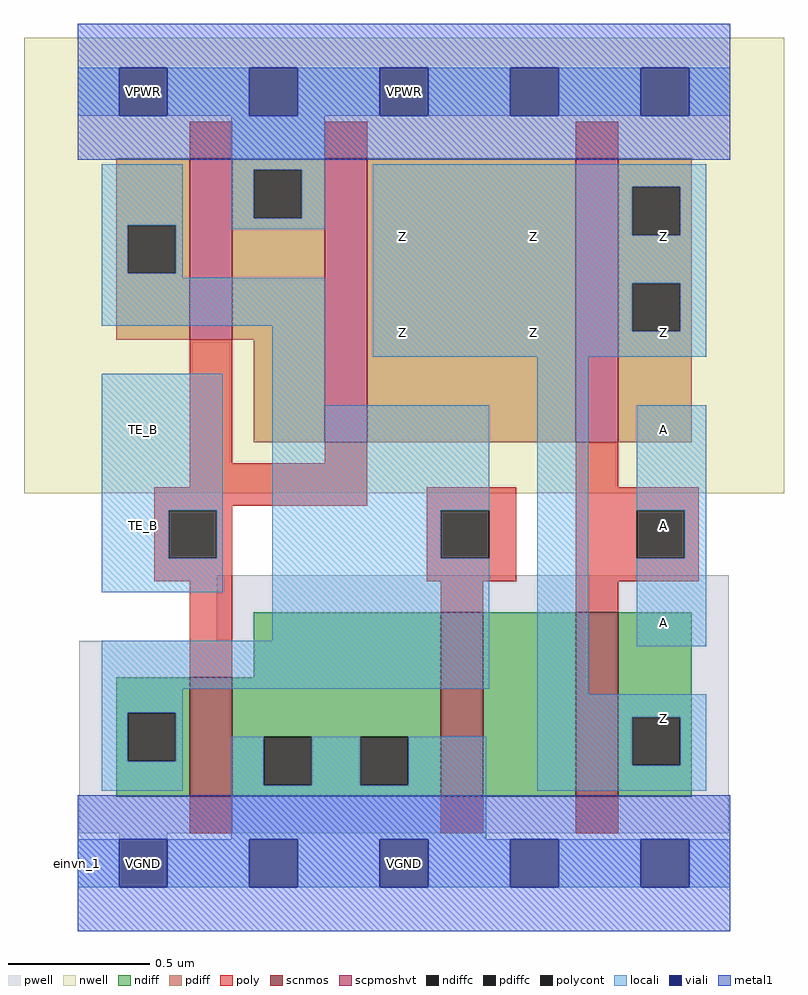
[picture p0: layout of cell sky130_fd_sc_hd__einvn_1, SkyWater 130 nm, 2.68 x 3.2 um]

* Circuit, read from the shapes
.subckt sky130_fd_sc_hd__einvn_1 A TE_B VGND VNB VPB VPWR Z
XM1 VGND TE_B n1 VNB sky130_fd_pr__nfet_01v8 w=0.42 l=0.15
XM2 n2 n1 VGND VNB sky130_fd_pr__nfet_01v8 w=0.65 l=0.15
XM3 Z A n2 VNB sky130_fd_pr__nfet_01v8 w=0.65 l=0.15
XM4 VPWR TE_B n1 VPB sky130_fd_pr__pfet_01v8_hvt w=0.64 l=0.15
XM5 n3 TE_B VPWR VPB sky130_fd_pr__pfet_01v8_hvt w=1 l=0.15
XM6 Z A n3 VPB sky130_fd_pr__pfet_01v8_hvt w=1 l=0.15
.ends

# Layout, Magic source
magic
tech sky130B
magscale 1 2
<< nwell >>
rect -38 261 498 582
<< pwell >>
rect 98 157 459 203
rect 1 21 459 157
rect 29 -17 63 21
<< scnmos >>
rect 79 47 109 131
rect 256 47 286 177
rect 351 47 381 177
<< scpmoshvt >>
rect 79 369 109 497
rect 174 297 204 497
rect 351 297 381 497
<< ndiff >>
rect 124 131 256 177
rect 27 106 79 131
rect 27 72 35 106
rect 69 72 79 106
rect 27 47 79 72
rect 109 89 256 131
rect 109 55 131 89
rect 165 55 199 89
rect 233 55 256 89
rect 109 47 256 55
rect 286 47 351 177
rect 381 103 433 177
rect 381 69 391 103
rect 425 69 433 103
rect 381 47 433 69
<< pdiff >>
rect 27 450 79 497
rect 27 416 35 450
rect 69 416 79 450
rect 27 369 79 416
rect 109 489 174 497
rect 109 455 124 489
rect 158 455 174 489
rect 109 369 174 455
rect 124 297 174 369
rect 204 297 351 497
rect 381 477 433 497
rect 381 443 391 477
rect 425 443 433 477
rect 381 409 433 443
rect 381 375 391 409
rect 425 375 433 409
rect 381 297 433 375
<< ndiffc >>
rect 35 72 69 106
rect 131 55 165 89
rect 199 55 233 89
rect 391 69 425 103
<< pdiffc >>
rect 35 416 69 450
rect 124 455 158 489
rect 391 443 425 477
rect 391 375 425 409
<< poly >>
rect 79 497 109 523
rect 174 497 204 523
rect 351 497 381 523
rect 79 282 109 369
rect 174 282 204 297
rect 79 265 204 282
rect 351 265 381 297
rect 54 252 204 265
rect 54 249 109 252
rect 54 215 64 249
rect 98 215 109 249
rect 54 199 109 215
rect 246 249 309 265
rect 246 215 256 249
rect 290 215 309 249
rect 246 199 309 215
rect 351 249 438 265
rect 351 215 394 249
rect 428 215 438 249
rect 351 199 438 215
rect 79 131 109 199
rect 256 177 286 199
rect 351 177 381 199
rect 79 21 109 47
rect 256 21 286 47
rect 351 21 381 47
<< polycont >>
rect 64 215 98 249
rect 256 215 290 249
rect 394 215 428 249
<< locali >>
rect 0 527 29 561
rect 63 527 121 561
rect 155 527 213 561
rect 247 527 305 561
rect 339 527 397 561
rect 431 527 460 561
rect 17 450 74 493
rect 17 416 35 450
rect 69 416 74 450
rect 108 489 174 527
rect 108 455 124 489
rect 158 455 174 489
rect 108 447 174 455
rect 208 477 443 493
rect 17 413 74 416
rect 208 443 391 477
rect 425 443 443 477
rect 17 379 174 413
rect 17 249 102 345
rect 17 215 64 249
rect 98 215 102 249
rect 17 191 102 215
rect 137 323 174 379
rect 208 409 443 443
rect 208 375 391 409
rect 425 375 443 409
rect 208 357 443 375
rect 137 249 290 323
rect 137 215 256 249
rect 137 157 290 215
rect 17 123 290 157
rect 17 106 74 123
rect 17 72 35 106
rect 69 72 74 106
rect 324 119 360 357
rect 394 249 443 323
rect 428 215 443 249
rect 394 153 443 215
rect 324 103 443 119
rect 17 51 74 72
rect 108 55 131 89
rect 165 55 199 89
rect 233 55 288 89
rect 108 17 288 55
rect 324 69 391 103
rect 425 69 443 103
rect 324 51 443 69
rect 0 -17 29 17
rect 63 -17 121 17
rect 155 -17 213 17
rect 247 -17 305 17
rect 339 -17 397 17
rect 431 -17 460 17
<< viali >>
rect 29 527 63 561
rect 121 527 155 561
rect 213 527 247 561
rect 305 527 339 561
rect 397 527 431 561
rect 29 -17 63 17
rect 121 -17 155 17
rect 213 -17 247 17
rect 305 -17 339 17
rect 397 -17 431 17
<< metal1 >>
rect 0 561 460 592
rect 0 527 29 561
rect 63 527 121 561
rect 155 527 213 561
rect 247 527 305 561
rect 339 527 397 561
rect 431 527 460 561
rect 0 496 460 527
rect 0 17 460 48
rect 0 -17 29 17
rect 63 -17 121 17
rect 155 -17 213 17
rect 247 -17 305 17
rect 339 -17 397 17
rect 431 -17 460 17
rect 0 -48 460 -17
<< labels >>
flabel locali s 212 357 246 391 0 FreeSans 200 0 0 0 Z
port 7 nsew signal output
flabel locali s 212 425 246 459 0 FreeSans 200 0 0 0 Z
port 7 nsew signal output
flabel locali s 304 357 338 391 0 FreeSans 200 0 0 0 Z
port 7 nsew signal output
flabel locali s 304 425 338 459 0 FreeSans 200 0 0 0 Z
port 7 nsew signal output
flabel locali s 396 425 430 459 0 FreeSans 200 0 0 0 Z
port 7 nsew signal output
flabel locali s 396 357 430 391 0 FreeSans 200 0 0 0 Z
port 7 nsew signal output
flabel locali s 396 85 430 119 0 FreeSans 200 0 0 0 Z
port 7 nsew signal output
flabel locali s 396 153 430 187 0 FreeSans 200 0 0 0 A
port 1 nsew signal input
flabel locali s 396 221 430 255 0 FreeSans 200 0 0 0 A
port 1 nsew signal input
flabel locali s 396 289 430 323 0 FreeSans 200 0 0 0 A
port 1 nsew signal input
flabel locali s 29 289 63 323 0 FreeSans 200 0 0 0 TE_B
port 2 nsew signal input
flabel locali s 29 221 63 255 0 FreeSans 200 0 0 0 TE_B
port 2 nsew signal input
flabel metal1 s 29 -17 63 17 0 FreeSans 200 0 0 0 VGND
port 3 nsew ground bidirectional abutment
flabel metal1 s 29 527 63 561 0 FreeSans 200 0 0 0 VPWR
port 6 nsew power bidirectional abutment
flabel nwell s 29 527 63 561 0 FreeSans 200 0 0 0 VPB
port 5 nsew power bidirectional
flabel pwell s 29 -17 63 17 0 FreeSans 200 0 0 0 VNB
port 4 nsew ground bidirectional
rlabel comment s 0 0 0 0 4 einvn_1
rlabel metal1 s 0 -48 460 48 1 VGND
port 3 nsew ground bidirectional abutment
rlabel metal1 s 0 496 460 592 1 VPWR
port 6 nsew power bidirectional abutment
<< properties >>
string FIXED_BBOX 0 0 460 544
string GDS_END 2950446
string GDS_FILE $PDKPATH/libs.ref/sky130_fd_sc_hd/gds/sky130_fd_sc_hd.gds
string GDS_START 2945380
string LEFclass CORE
string LEFsite unithd
string LEFsymmetry X Y R90
string path 0.000 0.000 11.500 0.000 
<< end >>
